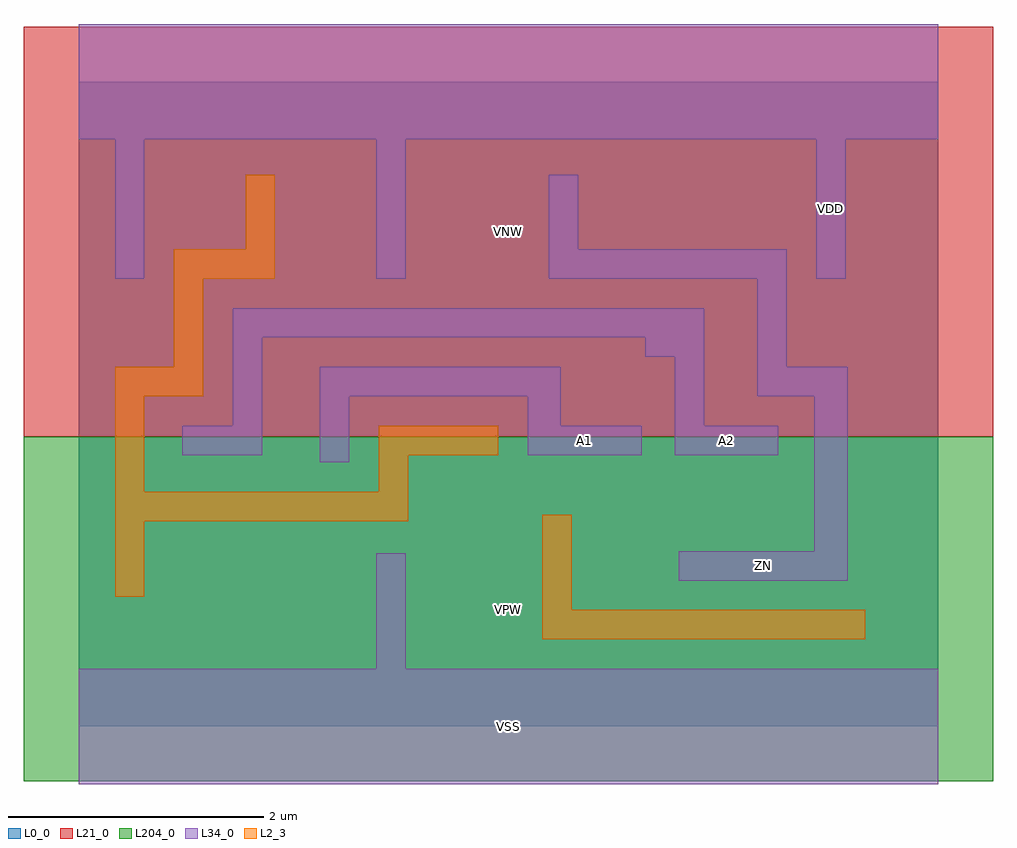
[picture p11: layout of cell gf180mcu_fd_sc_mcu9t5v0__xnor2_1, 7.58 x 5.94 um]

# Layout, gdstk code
import gdstk
lib = gdstk.Library(unit=1e-6, precision=1e-09)
def R(c, l, rs):  # rectangles x0, y0, x1, y1
    for r in rs: c.add(gdstk.rectangle(r[:2], r[2:], *l))
L0_0 = (0, 0)
L2_3 = (2, 3)
L21_0 = (21, 0)
L34_0 = (34, 0)
L204_0 = (204, 0)

gf180mcu_fd_sc_mcu9t5v0_ = lib.new_cell('gf180mcu_fd_sc_mcu9t5v0__xnor2_1')
R(gf180mcu_fd_sc_mcu9t5v0_, L0_0, [(0,0,6.72,5.04)])
R(gf180mcu_fd_sc_mcu9t5v0_, L2_3, [(3.625,0.68,6.15,0.91), (3.625,0.91,3.855,1.655), (0.285,1.015,0.515,1.605), (0.285,1.605,2.575,1.835), (0.285,1.835,0.515,2.58), (2.345,1.835,2.575,2.12), (2.345,2.12,3.28,2.35), (0.285,2.58,0.975,2.81), (0.745,2.81,0.975,3.5), (0.745,3.5,1.535,3.73), (1.305,3.73,1.535,4.31)])
R(gf180mcu_fd_sc_mcu9t5v0_, L21_0, [(-0.43,2.265,7.15,5.47)])
R(gf180mcu_fd_sc_mcu9t5v0_, L34_0, [(0,-0.45,6.72,0.45), (2.325,0.45,2.555,1.355), (4.69,1.14,6.01,1.37), (5.75,1.37,6.01,2.58), (1.885,2.065,2.115,2.58), (0.81,2.12,1.435,2.35), (3.51,2.12,4.4,2.35), (4.66,2.12,5.47,2.35), (1.205,2.35,1.435,3.04), (3.51,2.35,3.77,2.58), (4.66,2.35,4.89,2.89), (1.885,2.58,3.77,2.81), (5.305,2.58,6.01,2.81), (5.305,2.81,5.535,3.5), (4.43,2.89,4.89,3.04), (1.205,3.04,4.89,3.27), (0.285,3.5,0.515,4.59), (2.325,3.5,2.555,4.59), (3.675,3.5,5.535,3.73), (5.765,3.5,5.995,4.59), (3.675,3.73,3.905,4.31), (0,4.59,6.72,5.49)])
R(gf180mcu_fd_sc_mcu9t5v0_, L204_0, [(-0.43,-0.43,7.15,2.265)])
gf180mcu_fd_sc_mcu9t5v0_.add(gdstk.Label('A1', (3.955,2.235), layer=34, texttype=10))
gf180mcu_fd_sc_mcu9t5v0_.add(gdstk.Label('A2', (5.065,2.235), layer=34, texttype=10))
gf180mcu_fd_sc_mcu9t5v0_.add(gdstk.Label('ZN', (5.35,1.255), layer=34, texttype=10))
gf180mcu_fd_sc_mcu9t5v0_.add(gdstk.Label('VDD', (5.88,4.045), layer=34, texttype=10))
gf180mcu_fd_sc_mcu9t5v0_.add(gdstk.Label('VSS', (3.36,0), layer=34, texttype=10))
gf180mcu_fd_sc_mcu9t5v0_.add(gdstk.Label('VNW', (3.36,3.867), layer=3, texttype=1))
gf180mcu_fd_sc_mcu9t5v0_.add(gdstk.Label('VPW', (3.36,0.917), layer=4, texttype=1))

lib.write_gds('gf180mcu_fd_sc_mcu9t5v0__xnor2_1.gds')
